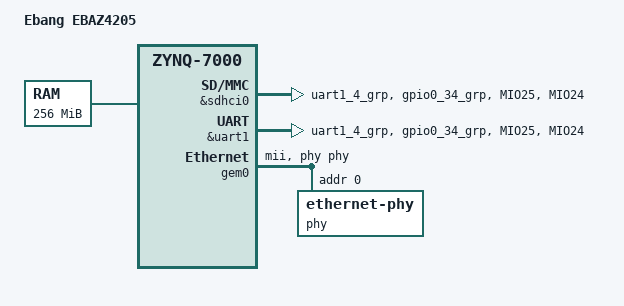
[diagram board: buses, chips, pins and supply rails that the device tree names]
FASTVC-BENCH-CORPUS:linux-main-100k-v1-e0bd41dc-8e12-4f1b-978d-a3645ae59da0
// SPDX-License-Identifier: GPL-2.0
/*
 * Copyright (C) 2021 Michael Walle <michael@walle.cc>
 */
/dts-v1/;
/include/ "zynq-7000.dtsi"

/ {
	model = "Ebang EBAZ4205";
	compatible = "ebang,ebaz4205", "xlnx,zynq-7000";

	aliases {
		ethernet0 = &gem0;
		serial0 = &uart1;
	};

	memory@0 {
		device_type = "memory";
		reg = <0x0 0x10000000>;
	};

	chosen {
		stdout-path = "serial0:115200n8";
	};
};

&clkc {
	ps-clk-frequency = <33333333>;
	fclk-enable = <8>;
};

&gem0 {
	status = "okay";
	phy-mode = "mii";
	phy-handle = <&phy>;

	/* PHY clock */
	assigned-clocks = <&clkc 18>;
	assigned-clock-rates = <25000000>;

	phy: ethernet-phy@0 {
		reg = <0>;
	};
};

&gpio0 {
	pinctrl-names = "default";
	pinctrl-0 = <&pinctrl_gpio0_default>;
};

&pinctrl0 {
	pinctrl_gpio0_default: gpio0-default {
		mux {
			groups = "gpio0_20_grp", "gpio0_32_grp";
			function = "gpio0";
		};

/* bench 16196.0.0 f869fbc70643 */
/* bench 16196.0.1 3a7967577273 */
/* bench 16196.0.2 18d6da32ff57 */
/* bench 16196.0.3 5b4a6f201ea7 */
/* bench 16196.0.4 990397eb6cde */
/* bench 16196.0.5 84d033bc92f0 */
/* bench 16196.0.6 5db7134942c1 */
/* bench 16196.0.7 7d0fd9f055a4 */
/* bench 16196.0.8 39fc27985f56 */
/* bench 16196.0.9 f92b36224c1e */
/* bench 16196.0.10 e7e5b4b7d214 */
			slew-rate = <0>;
		};

		conf-pull-up {
			pins = "MIO20", "MIO32";
			bias-disable;
		};
	};

	pinctrl_sdhci0_default: sdhci0-default {
		mux {
			groups = "sdio0_2_grp";
			function = "sdio0";
		};

		conf {
			groups = "sdio0_2_grp";
			io-standard = <3>;
			slew-rate = <0>;
			bias-disable;
		};

		mux-cd {
			groups = "gpio0_34_grp";
			function = "sdio0_cd";
		};

		conf-cd {
			groups = "gpio0_34_grp";
			io-standard = <3>;
			slew-rate = <0>;
			bias-high-impedance;
			bias-pull-up;
		};
	};

	pinctrl_uart1_default: uart1-default {
		mux {
			groups = "uart1_4_grp";
			function = "uart1";
		};

		conf {
			groups = "uart1_4_grp";
			io-standard = <3>;
			slew-rate = <0>;
		};

		conf-rx {
			pins = "MIO25";
			bias-high-impedance;
		};

		conf-tx {
			pins = "MIO24";
			bias-disable;
		};
/* bench 25992.0.0 da14531a1460 */
/* bench 25992.0.1 b5111d13d79b */
/* bench 25992.0.2 4c45e8ba9db6 */
/* bench 25992.0.3 05cd934b1d01 */
/* bench 25992.0.4 a78d4a5cd577 */
/* bench 25992.0.5 ef0ba912de17 */
/* bench 25992.0.6 ad99efa2e162 */
/* bench 25992.0.7 0e28f1f3c77b */
/* bench 25992.0.8 201c34825637 */

&sdhci0 {
	status = "okay";
	disable-wp;
	pinctrl-names = "default";
	pinctrl-0 = <&pinctrl_sdhci0_default>;
};

&uart1 {
	status = "okay";
	pinctrl-names = "default";
	pinctrl-0 = <&pinctrl_uart1_default>;
};
